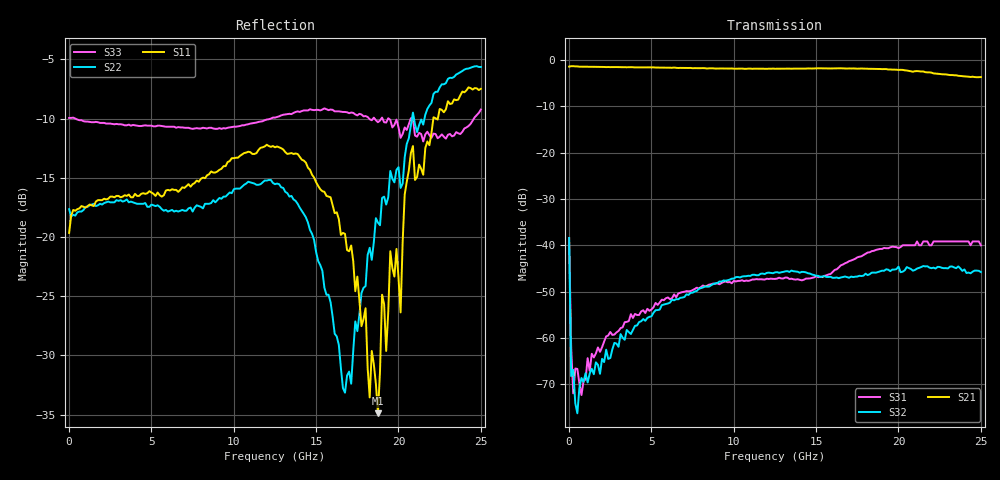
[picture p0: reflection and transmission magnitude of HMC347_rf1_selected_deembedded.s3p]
!Hittite Microwave Corporation
!12 Elizabeth Drive
!Chelmsford, MA 01824
!Tel: 978-250-3343
!Fax: 978-250-3373
!Device: HMC347, DC - 20 GHz GaAs MMIC SPDT Non-Reflective Switch
!Misc: Port1=RFC, Port2= RF1, Port3=RF2, RF1 ON, Data includes two K sonnectors, Bias: -5VDC
# MHZ S MA R 50
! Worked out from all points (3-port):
!   201 points, 10 MHz to 25 GHz, reference 50 ohm
!   strongest paths, dB at 10 MHz, 6.258 GHz, 12.51 GHz, 18.75 GHz, 25 GHz:
!     S21: -1.4, -1.6, -1.9, -1.9, -3.6
!     S32: -38.4, -51.8, -45.9, -45.8, -45.8
!     S31: -38.4, -51.4, -47.3, -40.9, -40.0
!   lowest |S11| = -34.9 dB at 18.75 GHz (marker M1), VSWR 1.04, Z = 48.2 - j0.212 ohm
!   |S11| at or under -10 dB: start of sweep to 22.12 GHz; 22.28 GHz to 22.39 GHz (113.4 MHz wide, 0.508 % of centre)
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10  0.104 2.2  0.906 -1.3  0.019 -41.3
    0.853 -2.9  0.131 13.8  0.032 -8.1
    0.012 6.8  0.012 126.2  0.318 172.3
134.95  0.123 -2.8  0.859 -5.7  0.000467 174.3
        0.861 -5.9  0.122 -3.1  0.0008403 110.2
        0.0007751 50.9  0.000386 -146.8  0.318 173.7
509.8  0.131 -13.3  0.856 -20.4  0.0003252 20.3
       0.857 -20.7  0.127 -14.5  8.796e-05 27.2
       0.0004611 16.5  0.0001528 -50.2  0.313 158.0
4258.3  0.149 -131.6  0.837 -166.7  0.00198 -35.3
        0.836 -166.7  0.138 -141.2  0.001234 53.4
        0.001767 -37.0  0.00148 60.1  0.294 5.2
6882.25  0.162 143.9  0.827 91.0  0.003118 -116.0
         0.825 91.0  0.13 131.1  0.002691 -59.9
         0.003119 -119.0  0.002721 -57.7  0.29 -102.7
9381.25  0.199 56.6  0.816 -6.3  0.003939 159.9
         0.813 -6.5  0.148 47.4  0.004109 -159.9
         0.004011 160.8  0.004169 -160.6  0.288 152.2
12505  0.239 -59.3  0.808 -128.7  0.00434 67.5
       0.808 -128.7  0.167 -63.1  0.00512 79.0
       0.004331 66.5  0.005092 79.5  0.319 23.8
15878.65  0.147 174.9  0.819 98.4  0.004909 -12.7
          0.814 98.1  0.053 164.6  0.004353 -40.9
          0.004895 -11.8  0.004563 -41.9  0.345 -99.0
18752.5  0.018 -173.0  0.803 -18.5  0.008906 -109.4
         0.804 -18.5  0.115 -86.4  0.005058 -131.3
         0.009009 -109.5  0.005142 -131.6  0.305 161.1
25000  0.422 -14.7  0.655 89.0  0.011 9.0
       0.657 88.8  0.522 24.8  0.004807 -33.2
       0.01 7.8  0.005136 -36.2  0.345 24.8
